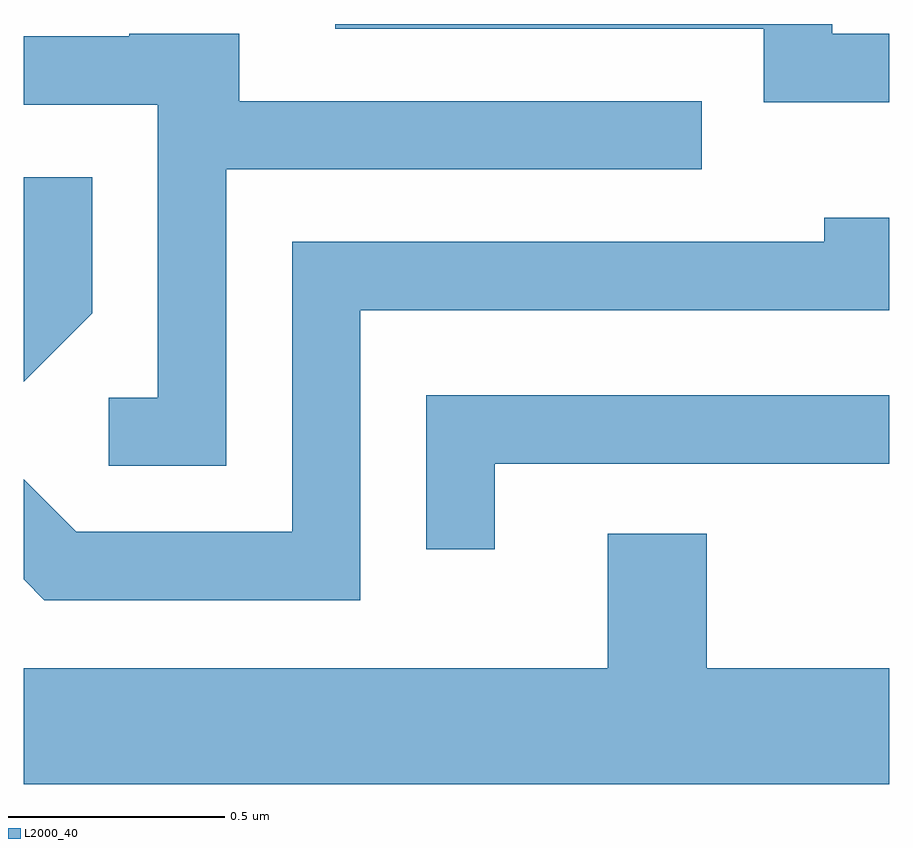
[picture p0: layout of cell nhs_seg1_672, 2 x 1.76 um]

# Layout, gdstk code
import gdstk
lib = gdstk.Library(unit=1e-6, precision=1e-09)
def P(c, l, *ps):  # polygons
    for p in ps: c.add(gdstk.Polygon(p, *l))
L2000_40 = (2000, 40)

nhs_seg1_672 = lib.new_cell('nhs_seg1_672')
P(nhs_seg1_672, L2000_40, [(191.611,965.689),(191.479,965.689),(191.479,965.712),(190.331,965.712),(190.331,965.701),(191.321,965.701),(191.321,965.531),(191.611,965.531)],
  [(190.079,965.376),(191.178,965.376),(191.178,965.534),(190.109,965.534),(190.109,965.689),(189.855,965.689),(189.855,965.684),(189.611,965.684),(189.611,965.526),(189.921,965.526),(189.921,964.849),(189.808,964.849),(189.808,964.691),(190.079,964.691)],
  [(189.769,965.044),(189.769,965.358),(189.611,965.358),(189.611,964.885)],
  [(190.389,965.051),(191.611,965.051),(191.611,965.264),(191.461,965.264),(191.461,965.209),(190.231,965.209),(190.231,964.539),(189.732,964.539),(189.611,964.66),(189.611,964.429),(189.659,964.381),(190.389,964.381)],
  [(190.699,964.696),(191.611,964.696),(191.611,964.854),(190.541,964.854),(190.541,964.498),(190.699,964.498)],
  [(191.611,964.224),(191.189,964.224),(191.189,964.534),(190.961,964.534),(190.961,964.224),(189.611,964.224),(189.611,963.956),(191.611,963.956)])

lib.write_gds('nhs_seg1_672.gds')
